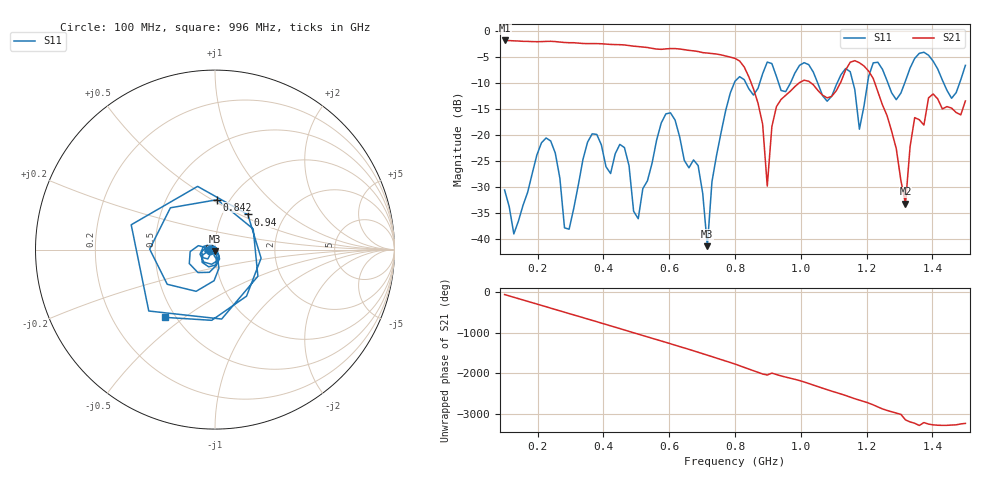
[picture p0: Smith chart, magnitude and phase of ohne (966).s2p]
! NanoVNA-App
! Date: 2025-09-25 14:28:19
! Start: 100MHz Stop: 1,5GHz Points: 101
! S-Parameter data: F S11 S21 S12 S22
# Hz S RI R 50
!  Frequency  S11_Real  S11_Imag  S21_Real  S21_Imag  S12_Real  S12_Imag  S22_Real  S22_Imag
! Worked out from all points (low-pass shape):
!   101 points, 100 MHz to 1.5 GHz, reference 50 ohm
!   highest |S21| = -1.79 dB at 100 MHz (marker M1); lowest = -33.3 dB at 1.318 GHz (marker M2)
!   |S21| within 3 dB of the highest: start of sweep to 771.8 MHz
!   lowest |S11| = -41.5 dB at 716 MHz (marker M3), VSWR 1.02, Z = 49.8 - j0.813 ohm
!   |S11| at or under -10 dB: start of sweep to 797.8 MHz; 833.1 MHz to 875.1 MHz (41.91 MHz wide, 4.91 % of centre); 1.051 GHz to 1.11 GHz (59.12 MHz wide, 5.47 % of centre) (the widest 3 of 7)
!   S12 and S22 are empty: the file has one direction only
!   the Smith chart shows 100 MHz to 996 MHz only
!   S11 on the Smith chart (normalised r, x): 100 MHz: 0.94, -0.01; 842 MHz: 0.88, +0.53; 940 MHz: 1.31, +0.55; 996 MHz: 0.44, -0.43
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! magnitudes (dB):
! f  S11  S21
! 100 MHz  -30.6  -1.8
! 128 MHz  -39.1  -1.9
! 226 MHz  -20.6  -2.0
! 296 MHz  -38.2  -2.2
! 338 MHz  -24.8  -2.4
! 464 MHz  -22.4  -2.7
! 506 MHz  -36.2  -3.0
! 576 MHz  -17.7  -3.5
! 688 MHz  -25.9  -3.9
! 716 MHz  -41.5  -4.2
! 800 MHz  -9.7  -5.2
! 842 MHz  -11.1  -8.8
! 898 MHz  -6.0  -29.9
! 940 MHz  -11.4  -13.2
! 996 MHz  -6.6  -9.9
! 1.038 GHz  -7.9  -10.3
! 1.178 GHz  -18.9  -6.1
! 1.22 GHz  -6.1  -9.1
! 1.276 GHz  -11.9  -19.3
! 1.318 GHz  -9.6  -33.3
! 1.346 GHz  -5.3  -16.7
! 1.5 GHz  -6.6  -13.5
